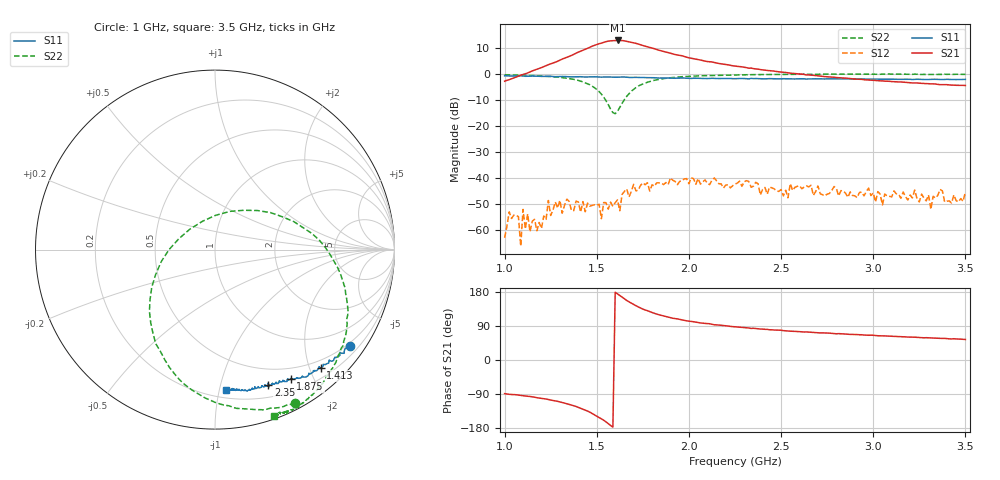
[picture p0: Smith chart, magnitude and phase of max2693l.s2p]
! MAXIM INTEGRATED PRODUCTS
! MAX2693L Typical Scattering Parameters at Vcc=+2.85V, TA = +25oC
! Notes: This data is measured using a MAX2693L EV KIT.
!	 The measurements are referenced at the input and ouput pins of the IC by removing the matching network and DC block and replacing them with a short.
# Hz S  RI  R 50
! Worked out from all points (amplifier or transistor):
!   201 points, 1 GHz to 3.5 GHz, reference 50 ohm
!   highest |S21| = 12.9 dB at 1.613 GHz (marker M1)
!   |S21| within 3 dB of that: 1.451 GHz to 1.804 GHz (353 MHz wide, 21.7 % of centre)
!   unconditionally stable (mu >= 1): start of sweep to 3.085 GHz; 3.089 GHz to end of sweep
!   at 1.413 GHz: K = 9.09, MAG = 18.3 dB, |S12| = -53.1 dB
!   at 2.25 GHz: K = 1.35, MAG = 19.1 dB, |S12| = -42.3 dB
!   at 3.5 GHz: K = 2.90, MAG = 13.0 dB, |S12| = -45.4 dB
!   S11 on the Smith chart (normalised r, x): 1 GHz: 0.43, -3.06; 1.413 GHz: 0.36, -2.19; 1.875 GHz: 0.35, -1.69; 2.35 GHz: 0.32, -1.42; 3.5 GHz: 0.26, -1.05
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1e9  0.7504 -0.5364  0.015 -0.723  -0.000558 0.000439  0.4463 -0.8541
1.025e9  0.729 -0.5486  -0.00743 -0.7762  -0.000221 0.00223  0.4243 -0.8614
1.075e9  0.7201 -0.5656  -0.0422 -0.9059  -0.00157 0.000898  0.3682 -0.8779
1.0875e9  0.7201 -0.5775  -0.0577 -0.9415  -0.000241 0.000426  0.3562 -0.8804
1.1e9  0.7046 -0.5776  -0.0762 -0.9708  -0.00145 0.00202  0.341 -0.8822
1.1375e9  0.6941 -0.5796  -0.1193 -1.088  -0.000912 0.000172  0.2901 -0.889
1.2625e9  0.6419 -0.6197  -0.4674 -1.547  -0.000841 0.00229  0.0999 -0.8786
1.4125e9  0.5899 -0.6583  -1.667 -2.167  -0.0011 0.00191  -0.2267 -0.6909
1.425e9  0.5822 -0.6547  -1.821 -2.183  -0.00256 0.00241  -0.2553 -0.6541
1.5125e9  0.558 -0.6739  -3.346 -1.806  -0.00286 0.00129  -0.3622 -0.2809
1.5625e9  0.5383 -0.6884  -4.179 -0.8793  -0.000737 0.00242  -0.2569 -0.00101
1.6125e9  0.5228 -0.6896  -4.379 0.4177  -0.00331 0.00183  0.00341 0.1909
1.7125e9  0.4785 -0.7146  -3.104 2.311  -0.00331 0.00458  0.5389 0.0906
1.8375e9  0.4239 -0.717  -1.399 2.486  -0.00216 0.00779  0.7339 -0.2765
1.875e9  0.4223 -0.7219  -1.11 2.388  -0.000311 0.00817  0.7396 -0.364
2.25e9  0.3203 -0.7444  0.052 1.414  0.00403 0.00649  0.5921 -0.7545
2.35e9  0.297 -0.756  0.1377 1.257  0.00565 0.00412  0.5568 -0.7931
2.675e9  0.2209 -0.7744  0.2751 0.8996  0.00387 0.00254  0.476 -0.8635
3.0875e9  0.1279 -0.7837  0.3314 0.6419  0.00445 0.000375  0.4024 -0.9133
3.3125e9  0.0946 -0.7802  0.3378 0.5488  0.00236 -0.000826  0.357 -0.9089
3.3625e9  0.0782 -0.776  0.3396 0.5224  0.00511 -0.00321  0.3493 -0.9125
3.5e9  0.0631 -0.7826  0.3511 0.485  0.00357 -0.00401  0.3303 -0.9245
